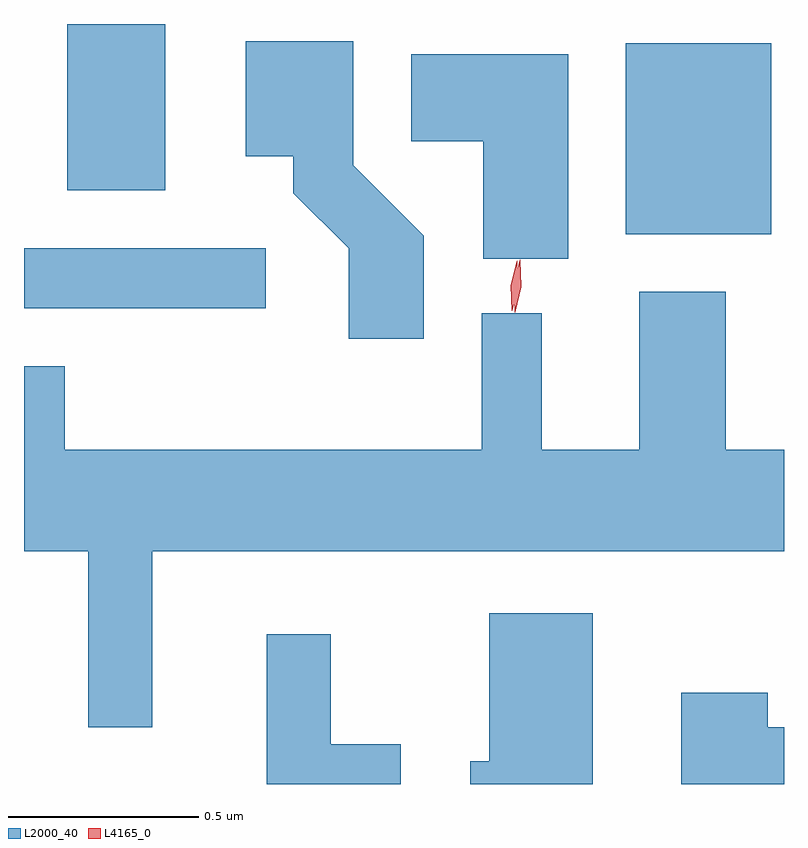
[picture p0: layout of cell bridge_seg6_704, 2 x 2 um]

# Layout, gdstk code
import gdstk
lib = gdstk.Library(unit=1e-6, precision=1e-09)
def R(c, l, rs):  # rectangles x0, y0, x1, y1
    for r in rs: c.add(gdstk.rectangle(r[:2], r[2:], *l))
def P(c, l, *ps):  # polygons
    for p in ps: c.add(gdstk.Polygon(p, *l))
L2000_40 = (2000, 40)
L4165_0 = (4165, 0)

bridge_seg6_704 = lib.new_cell('bridge_seg6_704')
R(bridge_seg6_704, L2000_40, [(211.852,1637.256,212.488,1637.414), (213.436,1637.451,213.819,1637.954), (211.966,1637.566,212.224,1638.004)])
P(bridge_seg6_704, L2000_40, [(212.904,1637.447),(212.719,1637.632),(212.719,1637.959),(212.436,1637.959),(212.436,1637.656),(212.561,1637.656),(212.561,1637.559),(212.706,1637.414),(212.706,1637.176),(212.904,1637.176)],
  [(213.284,1637.924),(212.871,1637.924),(212.871,1637.696),(213.061,1637.696),(213.061,1637.386),(213.284,1637.386)],
  [(212.189,1636.616),(213.852,1636.616),(213.852,1636.884),(213.699,1636.884),(213.699,1637.299),(213.471,1637.299),(213.471,1636.884),(213.214,1636.884),(213.214,1637.243),(213.056,1637.243),(213.056,1636.884),(211.959,1636.884),(211.959,1637.104),(211.852,1637.104),(211.852,1636.616),(212.021,1636.616),(212.021,1636.153),(212.189,1636.153)],
  [(213.349,1636.454),(213.076,1636.454),(213.076,1636.064),(213.026,1636.064),(213.026,1636.004),(213.349,1636.004)],
  [(212.844,1636.109),(212.659,1636.109),(212.659,1636.398),(212.491,1636.398),(212.491,1636.004),(212.844,1636.004)],
  [(213.852,1636.154),(213.809,1636.154),(213.809,1636.244),(213.581,1636.244),(213.581,1636.004),(213.852,1636.004)])
P(bridge_seg6_704, L4165_0, [(213.144,1637.245),(213.144,1637.245),(213.141,1637.315),(213.157,1637.382),(213.158,1637.383),(213.158,1637.382),(213.161,1637.313),(213.145,1637.245)],
  [(213.136,1637.249),(213.133,1637.316),(213.149,1637.38),(213.15,1637.381),(213.15,1637.38),(213.153,1637.314),(213.137,1637.249),(213.137,1637.249)])

lib.write_gds('bridge_seg6_704.gds')
